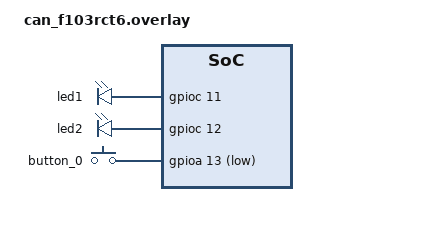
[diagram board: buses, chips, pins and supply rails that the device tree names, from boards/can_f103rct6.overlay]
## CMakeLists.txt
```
# SPDX-License-Identifier: Apache-2.0

cmake_minimum_required(VERSION 3.20.0)

find_package(Zephyr REQUIRED HINTS $ENV{ZEPHYR_BASE})
project(stm32_bootloader)

target_include_directories(app PRIVATE include)

target_sources(app PRIVATE
    src/main.c
    src/fw_upgrade.c
    src/fw_can.c
    src/fw_uart.c
)
```

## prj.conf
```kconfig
CONFIG_GPIO=y
CONFIG_CAN=y
CONFIG_FLASH=y
CONFIG_SERIAL=y
CONFIG_REBOOT=y
CONFIG_FLASH_MAP=y

# RTT log
CONFIG_USE_SEGGER_RTT=y
CONFIG_LOG=y
CONFIG_LOG_DEFAULT_LEVEL=3
CONFIG_LOG_BACKEND_RTT=y
CONFIG_LOG_BACKEND_RTT_MODE_BLOCK=y
CONFIG_LOG_BUFFER_SIZE=2048
```

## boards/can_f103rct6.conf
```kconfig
# Disable UART console, use RTT for log
CONFIG_CONSOLE=n
CONFIG_UART_CONSOLE=n
CONFIG_STDOUT_CONSOLE=n
CONFIG_EARLY_CONSOLE=n
```

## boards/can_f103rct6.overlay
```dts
/*
 * STM32 Bootloader board overlay for can_f103rct6
 *
 * USART1: 固件升级数据传输
 * CAN: 固件升级数据传输
 * RTT: log 输出 (通过 J-Link)
 */

/ {
	leds {
		compatible = "gpio-leds";
		led1: led_0 {
			gpios = <&gpioc 11 GPIO_ACTIVE_HIGH>;
		};
		led2: led_1 {
			gpios = <&gpioc 12 GPIO_ACTIVE_HIGH>;
		};
	};

	gpio_keys {
		compatible = "gpio-keys";
		button_0: button_0 {
			gpios = <&gpioa 13 GPIO_ACTIVE_LOW>;
			zephyr,code = <0>;
		};
	};
};

&flash0 {
	/delete-node/ partitions;
	partitions {
		compatible = "fixed-partitions";
		#address-cells = <1>;
		#size-cells = <1>;

		boot_partition: partition@0 {
			label = "mcuboot";
			reg = <0x00000000 DT_SIZE_K(64)>;
			read-only;
		};

		slot0_partition: partition@10000 {
			label = "image-0";
			reg = <0x00010000 DT_SIZE_K(192)>;
		};
	};
};
```

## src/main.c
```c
#include <zephyr/kernel.h>
#include <zephyr/logging/log.h>
#include <zephyr/device.h>
#include <zephyr/drivers/gpio.h>
#include <zephyr/app_version.h>

#include <fw_upgrade.h>

LOG_MODULE_REGISTER(main, LOG_LEVEL_INF);

#if DT_NODE_EXISTS(DT_PATH(gpio_keys, button_0))
static const struct gpio_dt_spec key1 = GPIO_DT_SPEC_GET(DT_PATH(gpio_keys, button_0), gpios);
#endif

#if DT_NODE_EXISTS(DT_PATH(leds, led_0))
static const struct gpio_dt_spec led1 = GPIO_DT_SPEC_GET(DT_PATH(leds, led_0), gpios);
#endif

#if DT_NODE_EXISTS(DT_PATH(leds, led_1))
static const struct gpio_dt_spec led2 = GPIO_DT_SPEC_GET(DT_PATH(leds, led_1), gpios);
#endif

static bool enter_upgrade_mode(void)
{
#if DT_NODE_EXISTS(DT_PATH(gpio_keys, button_0))
	if (gpio_is_ready_dt(&key1)) {
		gpio_pin_configure_dt(&key1, GPIO_INPUT);
	}

	if (gpio_pin_get_dt(&key1) == 0) {
		LOG_INF("Key1 pressed, enter upgrade mode");
		return true;
	}
#endif

	if (CheckUpgradeFlag()) {
		LOG_INF("Upgrade flag detected, clearing flag...");
		ClearUpgradeFlag();
		return true;
	}

	return false;
}

int main(void)
{
	LOG_INF("========================================");
	LOG_INF("  STM32 Bootloader %s", APP_VERSION_STRING);
	LOG_INF("========================================");
	LOG_INF("Flash: 0x%08x - 0x%08x", FLASH_APP_START_ADDR, FLASH_APP_END_ADDR);
	LOG_INF("App Start: 0x%08x", APP_START_ADDR);

#if DT_NODE_EXISTS(DT_PATH(leds, led_0))
	if (gpio_is_ready_dt(&led1)) {
		gpio_pin_configure_dt(&led1, GPIO_OUTPUT_INACTIVE);
	}
#endif

#if DT_NODE_EXISTS(DT_PATH(leds, led_1))
	if (gpio_is_ready_dt(&led2)) {
		gpio_pin_configure_dt(&led2, GPIO_OUTPUT_INACTIVE);
	}
#endif

	if (enter_upgrade_mode()) {
#if DT_NODE_EXISTS(DT_PATH(leds, led_0))
		if (gpio_is_ready_dt(&led1)) {
			gpio_pin_set_dt(&led1, 1);
		}
#endif
	} else if (VerifyAppFirmware()) {
		LOG_INF("App firmware valid, jumping to 0x%08x", APP_START_ADDR);
		JumpToApp(APP_START_ADDR);
	} else {
		LOG_INF("App firmware invalid!");
#if DT_NODE_EXISTS(DT_PATH(leds, led_1))
		if (gpio_is_ready_dt(&led2)) {
			gpio_pin_set_dt(&led2, 1);
		}
#endif
		LOG_INF("Staying in bootloader mode");
	}

	while (1) {
		k_sleep(K_FOREVER);
	}

	return 0;
}
```

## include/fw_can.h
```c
#ifndef __FW_CAN_H
#define __FW_CAN_H

#include <stdint.h>

void fw_can_send_response(uint32_t code, uint32_t value);

#endif
```

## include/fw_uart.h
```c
#ifndef __FW_UART_H
#define __FW_UART_H

#include <stdint.h>

#define UART_FRAME_HEAD  0xAA
#define UART_FRAME_TAIL  0x55
#define UART_FRAME_CMD   0x01
#define UART_FRAME_DATA  0x02

void fw_uart_init(void);

#endif
```

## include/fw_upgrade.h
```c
#ifndef __FW_UPGRADE_H
#define __FW_UPGRADE_H

#include <stdint.h>
#include <zephyr/drivers/can.h>

#define FLASH_APP_START_ADDR      0x08010000
#define FLASH_APP_END_ADDR        0x08040000
#define FLASH_SECTOR_SIZE         0x400
#define FLASH_FLAG_ADDR           0x0803F800
#define UPGRADE_FLAG_VALUE        0x55AADEAD
#define APP_START_ADDR            0x08010000

#define CAN_ID_PLATFORM_RX        0x101
#define CAN_ID_PLATFORM_TX        0x102
#define CAN_ID_FW_DATA_RX         0x103

enum fw_error_code {
	FW_CODE_OFFSET,
	FW_CODE_UPDATE_SUCCESS,
	FW_CODE_VERSION,
	FW_CODE_CONFIRM,
	FW_CODE_FLASH_ERROR,
	FW_CODE_TRANFER_ERROR,
};

enum board_option {
	BOARD_START_UPDATE,
	BOARD_CONFIRM,
	BOARD_VERSION,
	BOARD_REBOOT,
};

typedef void (*fw_send_response_t)(uint32_t code, uint32_t value);

void fw_set_response_cb(fw_send_response_t cb);
int fw_update(struct can_frame *frame);
uint8_t VerifyAppFirmware(void);
uint8_t CheckUpgradeFlag(void);
void ClearUpgradeFlag(void);
void JumpToApp(uint32_t app_addr);

#endif
```

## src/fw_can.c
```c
#include <fw_can.h>
#include <fw_upgrade.h>
#include <zephyr/kernel.h>
#include <zephyr/logging/log.h>
#include <zephyr/device.h>
#include <zephyr/drivers/can.h>

LOG_MODULE_REGISTER(fw_can, LOG_LEVEL_INF);

static const struct device *can_dev = DEVICE_DT_GET(DT_CHOSEN(zephyr_canbus));
CAN_MSGQ_DEFINE(fw_can_msgq, 8);

static struct can_filter filter_cmd = {
	.id = CAN_ID_PLATFORM_RX,
	.mask = CAN_STD_ID_MASK,
	.flags = 0,
};

static struct can_filter filter_data = {
	.id = CAN_ID_FW_DATA_RX,
	.mask = CAN_STD_ID_MASK,
	.flags = 0,
};

void fw_can_send_response(uint32_t code, uint32_t value)
{
	struct can_frame frame = {
		.id = CAN_ID_PLATFORM_TX,
		.data_32 = {code, value},
		.dlc = can_bytes_to_dlc(8),
	};

	int ret = can_send(can_dev, &frame, K_MSEC(100), NULL, NULL);
	if (ret != 0) {
		LOG_ERR("CAN send failed (err %d)", ret);
	}
}

static void fw_canrx_msg_handler(struct can_frame *frame)
{
	fw_set_response_cb(fw_can_send_response);
	switch (frame->id) {
	case CAN_ID_PLATFORM_RX:
	case CAN_ID_FW_DATA_RX:
		fw_update(frame);
		break;
	default:
		LOG_ERR("Unsupported CAN ID: 0x%x", frame->id);
		break;
	}
}

static void fw_can_process_thread(void)
{
	struct can_frame frame;

	if (can_set_bitrate(can_dev, 250000) != 0) {
		LOG_ERR("Failed to set bitrate");
		return;
	}

	if (can_start(can_dev) != 0) {
		LOG_ERR("Failed to start CAN controller");
		return;
	}

	if (can_add_rx_filter_msgq(can_dev, &fw_can_msgq, &filter_cmd) < 0) {
		LOG_ERR("Failed to add CMD filter");
		return;
	}

	if (can_add_rx_filter_msgq(can_dev, &fw_can_msgq, &filter_data) < 0) {
		LOG_ERR("Failed to add DATA filter");
		return;
	}

	LOG_INF("CAN transport ready");

	while (true) {
		if (k_msgq_get(&fw_can_msgq, &frame, K_FOREVER) == 0) {
			fw_canrx_msg_handler(&frame);
		}
	}
}

K_THREAD_DEFINE(fw_can_rx, 2048, fw_can_process_thread, NULL, NULL, NULL, 8, 0, 0);
```

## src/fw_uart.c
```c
#include <fw_uart.h>
#include <fw_upgrade.h>
#include <zephyr/kernel.h>
#include <zephyr/logging/log.h>
#include <zephyr/device.h>
#include <zephyr/drivers/uart.h>
#include <string.h>

LOG_MODULE_REGISTER(fw_uart, LOG_LEVEL_INF);

static const struct device *uart_dev = DEVICE_DT_GET(DT_NODELABEL(usart1));

typedef enum {
	UART_STATE_IDLE,
	UART_STATE_TYPE,
	UART_STATE_LEN_H,
	UART_STATE_LEN_L,
	UART_STATE_DATA,
	UART_STATE_CRC_H,
	UART_STATE_CRC_L,
} uart_rx_state_t;

static uart_rx_state_t rx_state = UART_STATE_IDLE;
static uint8_t rx_type;
static uint8_t rx_len;
static uint8_t rx_index;
static uint8_t rx_buffer[8];
static uint16_t rx_crc;

static struct can_frame uart_frame;

typedef struct {
	uint8_t type;
	uint8_t data[8];
	uint8_t len;
} fw_uart_frame_t;

K_MSGQ_DEFINE(uart_msgq, sizeof(fw_uart_frame_t), 8, 4);

static uint16_t crc16_ccitt(const uint8_t *data, uint16_t len)
{
	uint16_t crc = 0xFFFF;

	for (uint16_t i = 0; i < len; i++) {
		crc ^= (uint16_t)data[i];
		for (uint8_t j = 0; j < 8; j++) {
			if (crc & 0x0001) {
				crc = (crc >> 1) ^ 0xA001;
			} else {
				crc >>= 1;
			}
		}
	}
	return crc;
}

static void uart_send_frame(uint8_t type, uint8_t *data, uint8_t len)
{
	uint8_t frame[16];
	uint16_t index = 0;

	frame[index++] = UART_FRAME_HEAD;
	frame[index++] = type;
	frame[index++] = 0;
	frame[index++] = len;
	memcpy(&frame[index], data, len);
	index += len;
	uint16_t crc = crc16_ccitt(data, len);
	frame[index++] = (crc >> 8) & 0xFF;
	frame[index++] = crc & 0xFF;
	frame[index++] = UART_FRAME_TAIL;

	for (uint16_t i = 0; i < index; i++) {
		uart_poll_out(uart_dev, frame[i]);
	}
}

static void fw_uart_send_response(uint32_t code, uint32_t value)
{
	uint8_t data[8];
	memcpy(&data[0], &code, 4);
	memcpy(&data[4], &value, 4);
	uart_send_frame(UART_FRAME_CMD, data, 8);
}

static void uart_isr(const struct device *dev, void *user_data)
{
	while (uart_irq_update(dev) && uart_irq_rx_ready(dev)) {
		uint8_t byte;
		uart_fifo_read(dev, &byte, 1);

		switch (rx_state) {
		case UART_STATE_IDLE:
			if (byte == UART_FRAME_HEAD) {
				rx_state = UART_STATE_TYPE;
			}
			break;
		case UART_STATE_TYPE:
			if (byte == UART_FRAME_CMD || byte == UART_FRAME_DATA) {
				rx_type = byte;
				rx_index = 0;
				rx_state = UART_STATE_LEN_H;
			} else {
				rx_state = UART_STATE_IDLE;
			}
			break;
		case UART_STATE_LEN_H:
			rx_len = byte << 8;
			rx_state = UART_STATE_LEN_L;
			break;
		case UART_STATE_LEN_L:
			rx_len |= byte;
			if (rx_len <= 8) {
				rx_state = (rx_len > 0) ? UART_STATE_DATA : UART_STATE_CRC_H;
			} else {
				rx_state = UART_STATE_IDLE;
			}
			break;
		case UART_STATE_DATA:
			rx_buffer[rx_index++] = byte;
			if (rx_index >= rx_len) {
				rx_state = UART_STATE_CRC_H;
			}
			break;
		case UART_STATE_CRC_H:
			rx_crc = byte << 8;
			rx_state = UART_STATE_CRC_L;
			break;
		case UART_STATE_CRC_L:
			rx_crc |= byte;
			if (crc16_ccitt(rx_buffer, rx_len) == rx_crc) {
				fw_uart_frame_t frame;
				frame.type = rx_type;
				frame.len = rx_len;
				memcpy(frame.data, rx_buffer, rx_len);
				k_msgq_put(&uart_msgq, &frame, K_NO_WAIT);
			}
			rx_state = UART_STATE_IDLE;
			break;
		default:
			rx_state = UART_STATE_IDLE;
			break;
		}
	}
}

static void fw_uart_process_thread(void)
{
	fw_uart_frame_t frame;

	uart_irq_rx_disable(uart_dev);
	uart_irq_callback_user_data_set(uart_dev, uart_isr, NULL);
	uart_irq_rx_enable(uart_dev);

	LOG_INF("UART transport ready");

	while (true) {
		if (k_msgq_get(&uart_msgq, &frame, K_FOREVER) == 0) {
			fw_set_response_cb(fw_uart_send_response);
			memset(&uart_frame, 0, sizeof(uart_frame));

			if (frame.type == UART_FRAME_CMD) {
				LOG_INF("UART CMD received");
				uart_frame.id = CAN_ID_PLATFORM_RX;
			} else if (frame.type == UART_FRAME_DATA) {
				uart_frame.id = CAN_ID_FW_DATA_RX;
			}

			uart_frame.dlc = can_bytes_to_dlc(frame.len);
			memcpy(uart_frame.data, frame.data, frame.len);
			fw_update(&uart_frame);
		}
	}
}

K_THREAD_DEFINE(fw_uart_rx, 2048, fw_uart_process_thread, NULL, NULL, NULL, 9, 0, 0);
```

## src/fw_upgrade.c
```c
#include <fw_upgrade.h>
#include <zephyr/kernel.h>
#include <zephyr/logging/log.h>
#include <zephyr/device.h>
#include <zephyr/drivers/flash.h>
#include <zephyr/app_version.h>
#include <zephyr/sys/reboot.h>

LOG_MODULE_REGISTER(fw_upgrade, LOG_LEVEL_INF);

#define FLASH_BUFFER_SIZE 64

static const struct device *flash_dev = DEVICE_DT_GET(DT_NODELABEL(flash));

static uint8_t flash_buffer[FLASH_BUFFER_SIZE];
static uint16_t flash_buffer_index = 0;
static uint32_t current_flash_addr = FLASH_APP_START_ADDR;
static uint32_t total_fw_size = 0;
static uint32_t received_fw_size = 0;

static fw_send_response_t response_cb;

void fw_set_response_cb(fw_send_response_t cb)
{
	response_cb = cb;
}

static void fw_send_response(uint32_t code, uint32_t value)
{
	if (response_cb) {
		response_cb(code, value);
	}
}

int fw_update(struct can_frame *frame)
{
	uint32_t size = can_dlc_to_bytes(frame->dlc);

	if (frame->id == CAN_ID_PLATFORM_RX) {
		if (frame->data_32[0] == BOARD_START_UPDATE) {
			if (size != 8) {
				LOG_ERR("start update message size must 8");
				fw_send_response(FW_CODE_FLASH_ERROR, 0);
				return -1;
			}
			total_fw_size = frame->data_32[1];
			received_fw_size = 0;
			current_flash_addr = FLASH_APP_START_ADDR;
			flash_buffer_index = 0;

			uint32_t erase_size = total_fw_size;
			if (erase_size > (FLASH_APP_END_ADDR - FLASH_APP_START_ADDR)) {
				erase_size = FLASH_APP_END_ADDR - FLASH_APP_START_ADDR;
			}

			uint32_t erase_addr = FLASH_APP_START_ADDR;
			LOG_INF("Start upgrade, size: %d bytes", total_fw_size);

			while (erase_size > 0) {
				struct flash_pages_info page_info;
				if (flash_get_page_info_by_offs(flash_dev, erase_addr, &page_info) != 0) {
					LOG_ERR("Failed to get page info");
					fw_send_response(FW_CODE_FLASH_ERROR, 0);
					return -1;
				}
				if (flash_erase(flash_dev, page_info.start_offset, page_info.size) != 0) {
					LOG_ERR("Erase failed");
					fw_send_response(FW_CODE_FLASH_ERROR, 0);
					return -1;
				}
				if (page_info.size <= erase_size) {
					erase_size -= page_info.size;
				} else {
					erase_size = 0;
				}
				erase_addr += page_info.size;
			}

			fw_send_response(FW_CODE_OFFSET, 0);
		} else if (frame->data_32[0] == BOARD_CONFIRM) {
			if (flash_buffer_index > 0) {
				flash_write(flash_dev, current_flash_addr, flash_buffer, flash_buffer_index);
				current_flash_addr += flash_buffer_index;
				flash_buffer_index = 0;
			}
			if (received_fw_size != total_fw_size) {
				LOG_ERR("Download failed: expected %d, got %d", total_fw_size, received_fw_size);
				fw_send_response(FW_CODE_TRANFER_ERROR, received_fw_size);
				return -1;
			}
			LOG_INF("Download finished, jumping to app...");
			fw_send_response(FW_CODE_CONFIRM, 0x55AA55AA);
			k_msleep(100);
			JumpToApp(APP_START_ADDR);
		} else if (frame->data_32[0] == BOARD_VERSION) {
			LOG_INF("Version request: %s", APP_VERSION_STRING);
			fw_send_response(FW_CODE_VERSION, APPVERSION);
		} else if (frame->data_32[0] == BOARD_REBOOT) {
			LOG_INF("Reboot requested");
			sys_reboot(SYS_REBOOT_WARM);
		}
	} else if (frame->id == CAN_ID_FW_DATA_RX) {
		if (received_fw_size >= total_fw_size) {
			LOG_WRN("Extra data received");
			return -1;
		}

		for (uint32_t i = 0; i < size && received_fw_size < total_fw_size; i++) {
			flash_buffer[flash_buffer_index++] = frame->data[i];
			received_fw_size++;

			if (flash_buffer_index >= FLASH_BUFFER_SIZE || received_fw_size >= total_fw_size) {
				if (flash_write(flash_dev, current_flash_addr, flash_buffer, flash_buffer_index) != 0) {
					LOG_ERR("Flash write failed at 0x%08x", current_flash_addr);
					fw_send_response(FW_CODE_FLASH_ERROR, received_fw_size);
					return -1;
				}
				current_flash_addr += flash_buffer_index;
				flash_buffer_index = 0;

				if (received_fw_size >= total_fw_size) {
					LOG_INF("Receive complete: %d/%d", received_fw_size, total_fw_size);
					fw_send_response(FW_CODE_UPDATE_SUCCESS, received_fw_size);
				} else if (received_fw_size % 4096 == 0) {
					LOG_INF("Progress: %d/%d", received_fw_size, total_fw_size);
				} else if (received_fw_size % 64 == 0) {
					fw_send_response(FW_CODE_OFFSET, received_fw_size);
				}
			}
		}
	}
	return 0;
}

uint8_t VerifyAppFirmware(void)
{
	uint32_t app_stack_ptr = 0;
	uint32_t app_reset_vec = 0;

	flash_read(flash_dev, FLASH_APP_START_ADDR, &app_stack_ptr, sizeof(app_stack_ptr));
	flash_read(flash_dev, FLASH_APP_START_ADDR + 4, &app_reset_vec, sizeof(app_reset_vec));

	LOG_INF("Verify: stack=0x%08x, reset=0x%08x", app_stack_ptr, app_reset_vec);

	if ((app_stack_ptr >= 0x20000000) && (app_stack_ptr < 0x2000C000) &&
	    (app_reset_vec >= FLASH_APP_START_ADDR) && (app_reset_vec < FLASH_APP_END_ADDR)) {
		return 1;
	}
	return 0;
}

uint8_t CheckUpgradeFlag(void)
{
	uint32_t flag = 0;
	flash_read(flash_dev, FLASH_FLAG_ADDR, &flag, sizeof(flag));
	return (flag == UPGRADE_FLAG_VALUE) ? 1 : 0;
}

void ClearUpgradeFlag(void)
{
	struct flash_pages_info page_info;

	flash_get_page_info_by_offs(flash_dev, FLASH_FLAG_ADDR, &page_info);
	flash_erase(flash_dev, page_info.start_offset, page_info.size);
}

void JumpToApp(uint32_t app_addr)
{
	typedef void (*pFunction)(void);
	pFunction jump_to_app;

	irq_lock();

	SCB->VTOR = app_addr;

	uint32_t jump_addr = *(volatile uint32_t *)(app_addr + 4);
	jump_to_app = (pFunction)jump_addr;

	__set_MSP(*(volatile uint32_t *)app_addr);

	__DSB();
	__ISB();

	jump_to_app();
}
```
